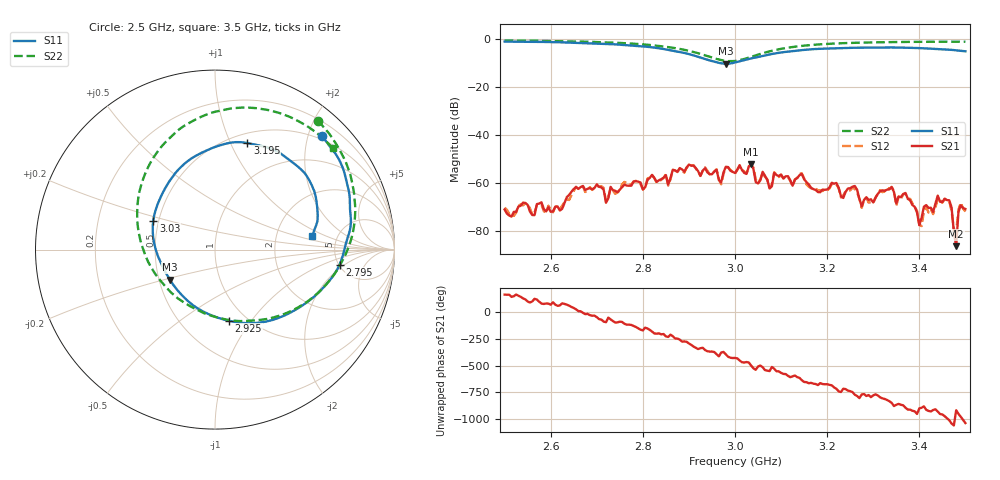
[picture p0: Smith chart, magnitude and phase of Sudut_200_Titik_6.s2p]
# Hz S RI R 50
! CMT, C1220, 16058040, 17.2.0/1
! Date: 15/08/2018 10:18:16
! Data: Format (Calibration Info)
! Freq  S11: Re/Im (F2)  S21: Re/Im (F2)  S12: Re/Im (F2)  S22: Re/Im (F2)
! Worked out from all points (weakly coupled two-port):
!   201 points, 2.5 GHz to 3.5 GHz, reference 50 ohm
!   highest |S21| = -52.14 dB at 3.035 GHz (marker M1); lowest = -86.1 dB at 3.48 GHz (marker M2)
!   lowest |S11| = -10.4 dB at 2.98 GHz (marker M3), VSWR 1.87, Z = 28.5 - j10.5 ohm
!   |S11| at or under -10 dB: 2.964 GHz to 2.997 GHz (33.37 MHz wide, 1.12 % of centre)
!   |S22| runs from -9.3 to -0.7 dB; largest |S21 - S12| = 0.00019
!   S11 on the Smith chart (normalised r, x): 2.5 GHz: 0.43, +2.24; 2.795 GHz: 5.09, -1.67; 2.925 GHz: 0.83, -0.79; 3.03 GHz: 0.47, +0.18; 3.195 GHz: 0.60, +1.16; 3.5 GHz: 3.24, +0.72
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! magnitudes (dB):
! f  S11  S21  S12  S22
! 2.5 GHz  -1.2  -70.9  -70.2  -0.7
! 2.605 GHz  -1.4  -71.6  -72.1  -1.0
! 2.67 GHz  -1.8  -61.1  -61.3  -1.2
! 2.72 GHz  -2.2  -68.1  -67.5  -1.5
! 2.795 GHz  -3.1  -59.7  -60.3  -2.3
! 2.835 GHz  -4.0  -58.8  -59.3  -3.0
! 2.925 GHz  -7.9  -57.0  -56.9  -6.3
! 2.98 GHz  -10.4  -53.2  -53.5  -9.2
! 3 GHz  -9.9  -55.8  -56.1  -9.3
! 3.03 GHz  -8.4  -53.0  -53.0  -7.9
! 3.035 GHz  -8.2  -52.1  -52.1  -7.6
! 3.075 GHz  -6.6  -62.2  -61.9  -5.3
! 3.17 GHz  -4.4  -62.5  -62.2  -2.6
! 3.195 GHz  -4.1  -62.7  -62.8  -2.2
! 3.26 GHz  -3.8  -61.1  -62.3  -1.7
! 3.275 GHz  -3.8  -69.6  -70.2  -1.6
! 3.335 GHz  -3.7  -62.5  -62.4  -1.4
! 3.405 GHz  -4.0  -74.3  -77.8  -1.3
! 3.465 GHz  -4.6  -67.1  -67.5  -1.3
! 3.48 GHz  -4.8  -86.1  -80.1  -1.3
! 3.49 GHz  -5.0  -69.2  -68.1  -1.3
! 3.5 GHz  -5.2  -70.7  -71.8  -1.3
